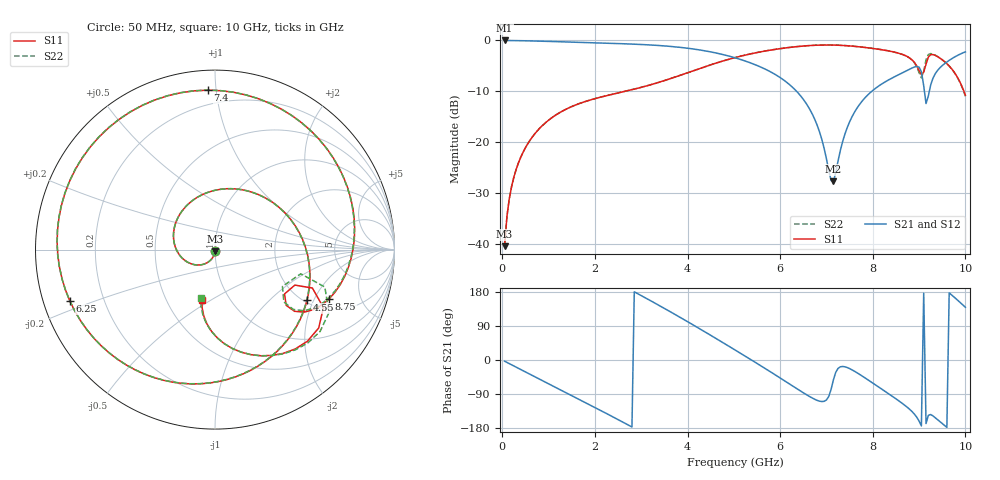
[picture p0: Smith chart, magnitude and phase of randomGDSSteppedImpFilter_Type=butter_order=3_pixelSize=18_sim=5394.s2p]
! freq	dB(S11)	phase(S11)	dB(S12)	phase(S12)
!  dB(S21)	phase(S21)	dB(S22)	phase(S22)
!S-par simulation data
#  GHz  S  DB  R 50
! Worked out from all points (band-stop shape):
!   200 points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, 50 MHz to 10 GHz, reference 50 ohm
!   highest |S21| = -0.01 dB at 50 MHz (marker M1); lowest = -27.8 dB at 7.15 GHz (marker M2)
!   |S21| within 3 dB of the highest: start of sweep to 4.863 GHz; 9.818 GHz to end of sweep
!   lowest |S11| = -40.5 dB at 50 MHz (marker M3), VSWR 1.02, Z = 50 - j0.944 ohm
!   |S11| at or under -10 dB: start of sweep to 2.665 GHz; 9.967286 GHz to end of sweep
!   |S22| runs from -40.5 to -0.9 dB; largest |S21 - S12| = 0
!   S11 on the Smith chart (normalised r, x): 50 MHz: 1.00, -0.02; 4.55 GHz: 2.08, -1.78; 6.25 GHz: 0.08, -0.17; 7.4 GHz: 0.11, +0.95; 8.75 GHz: 2.48, -2.63; 10 GHz: 0.75, -0.45
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0.05  -40.50 -89.0  -0.01 -3.2  -0.01 -3.2  -40.50 -89.0
0.2  -28.80 -102.3  -0.03 -12.7  -0.03 -12.7  -28.80 -102.2
0.5  -21.12 -122.0  -0.08 -31.5  -0.08 -31.5  -21.12 -122.0
1.15  -14.72 -163.0  -0.24 -72.2  -0.24 -72.2  -14.71 -162.9
1.75  -12.15 159.5  -0.41 -109.7  -0.41 -109.7  -12.15 159.5
2.6  -10.14 105.5  -0.65 -163.7  -0.65 -163.7  -10.13 105.4
3.4  -8.20 52.5  -1.02 143.0  -1.02 143.0  -8.19 52.1
4  -6.37 10.9  -1.54 101.2  -1.54 101.2  -6.37 10.3
4.55  -4.66 -28.7  -2.35 61.6  -2.35 61.6  -4.66 -29.3
5.05  -3.33 -65.6  -3.49 24.7  -3.49 24.7  -3.32 -66.3
5.65  -2.13 -111.5  -5.53 -20.4  -5.53 -20.4  -2.13 -112.0
6.25  -1.33 -160.5  -9.08 -67.0  -9.08 -67.0  -1.33 -160.8
6.7  -0.98 159.3  -14.61 -100.8  -14.61 -100.8  -0.98 159.3
7.15  -0.92 116.6  -27.77 -52.4  -27.77 -52.4  -0.91 117.0
7.4  -1.02 92.6  -18.40 -18.0  -18.40 -18.0  -1.01 93.2
7.9  -1.46 46.5  -10.67 -52.7  -10.67 -52.7  -1.46 47.4
8.35  -2.08 8.5  -7.73 -89.8  -7.73 -89.8  -2.08 9.5
8.75  -3.20 -23.6  -5.88 -125.2  -5.88 -125.2  -3.22 -22.7
9  -5.95 -38.1  -5.26 -161.2  -5.26 -161.2  -6.34 -37.2
9.15  -4.68 -21.5  -12.43 -167.7  -12.43 -167.7  -3.79 -18.8
9.45  -3.49 -61.8  -5.39 -162.6  -5.39 -162.6  -3.48 -61.9
10  -10.80 -104.6  -2.26 139.0  -2.26 139.0  -10.99 -106.3
